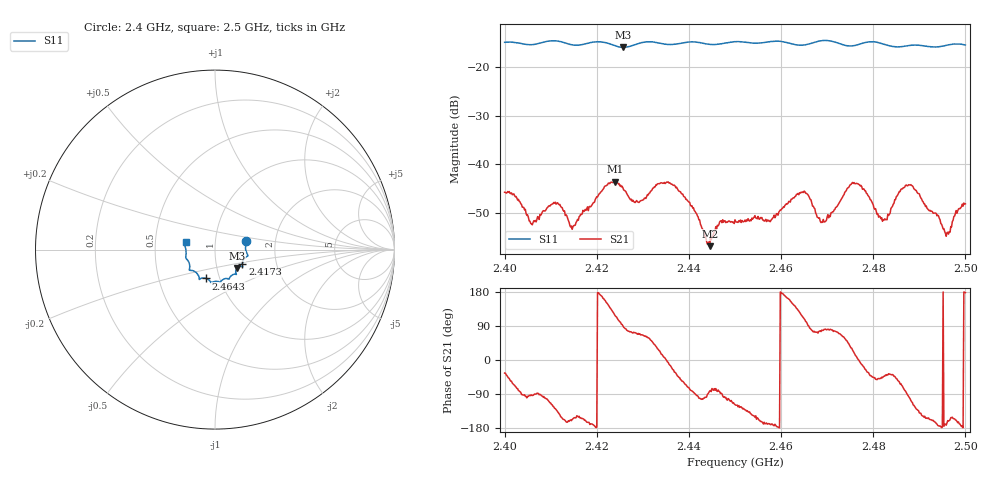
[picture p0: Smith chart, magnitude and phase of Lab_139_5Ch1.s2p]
# Hz S RI R 50
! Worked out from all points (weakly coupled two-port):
!   601 points, 2.4 GHz to 2.5 GHz, reference 50 ohm
!   highest |S21| = -43.53 dB at 2.424 GHz (marker M1); lowest = -56.8 dB at 2.4445 GHz (marker M2)
!   lowest |S11| = -15.9 dB at 2.4257 GHz (marker M3), VSWR 1.38, Z = 62.5 - j13.1 ohm
!   |S11| at or under -10 dB: start of sweep to end of sweep
!   S12 and S22 are empty: the file has one direction only
!   S11 on the Smith chart (normalised r, x): 2.4 GHz: 1.41, +0.14; 2.4173 GHz: 1.34, -0.23; 2.4643 GHz: 0.86, -0.28; 2.5 GHz: 0.72, +0.06
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2.4e9  0.1734 0.0494  0.00426 -0.00293  0 0  0 0
2.405833e9  0.1702 0.00348  -9.09e-05 -0.00245  0 0  0 0
2.411e9  0.1834 -0.0345  -0.00254 -0.00321  0 0  0 0
2.414667e9  0.1613 -0.0525  -0.00198 -0.000844  0 0  0 0
2.416667e9  0.153 -0.0745  -0.00275 -0.00132  0 0  0 0
2.417333e9  0.1524 -0.0818  -0.00311 -0.00117  0 0  0 0
2.424e9  0.1367 -0.0942  -0.00298 0.00595  0 0  0 0
2.425667e9  0.1229 -0.1022  -2.16e-05 0.00576  0 0  0 0
2.428667e9  0.1155 -0.1289  0.00146 0.00399  0 0  0 0
2.433333e9  0.113 -0.1371  0.00557 0.00301  0 0  0 0
2.438667e9  0.0812 -0.1578  0.00275 -0.00412  0 0  0 0
2.4445e9  0.0596 -0.1611  0.000201 -0.00143  0 0  0 0
2.45e9  0.0294 -0.1807  -0.00126 -0.00238  0 0  0 0
2.457667e9  -0.017 -0.1825  -0.00255 -0.000433  0 0  0 0
2.464333e9  -0.0499 -0.1605  -0.00257 0.0045  0 0  0 0
2.466667e9  -0.0758 -0.1598  0.000786 0.00393  0 0  0 0
2.469333e9  -0.0876 -0.1666  0.000405 0.00253  0 0  0 0
2.476e9  -0.1161 -0.1201  0.0061 0.00169  0 0  0 0
2.483333e9  -0.1406 -0.0897  0.00241 -0.00176  0 0  0 0
2.487667e9  -0.1584 -0.0525  -0.000688 -0.00614  0 0  0 0
2.496e9  -0.1671 0.0192  -0.00193 -0.000462  0 0  0 0
2.5e9  -0.1637 0.0422  -0.00393 0.000147  0 0  0 0
